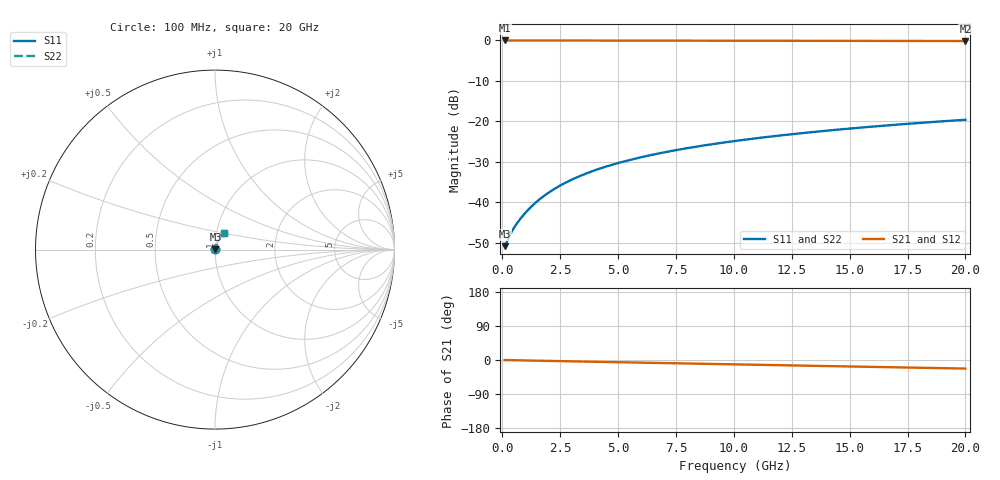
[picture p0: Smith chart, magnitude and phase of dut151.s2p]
! Touchstone file exported from HFSS 2026.1.0
!  File:  C:/ffzhzh/LocalFiles/Ansys_Project_Files/temp_train_TMRDL_151_1782983139_6248.aedt
!  Generated:  05:06:45 PM Jul  2, 2026
!  Design:  TMRDL
!  Project:  temp_train_TMRDL_151_1782983139_6248
! Variables:
!  h_bsmrdl = 2um
!  h_ox = 20um
!  h_rdl = 5um
!  h_sub = 80um
!  h_tmrdl = 4.48um
!  h_tsv = 80um
!  h_via = 3um
!  l_bsmrdl = 300um
!  l_sub = 793.68um
!  l_tmrdl = 393.68um
!  m_sub = 200um
!  pitch = 18.54um
!  r_tsv = 6um
!  s_tmrdl = 10um
!  w_bsmrdl = 18um
!  w_sub = 500um
!  w_tmrdl = 11.7um
!  x_tsv_center1 = 399.53um
!  x_tsv_center2 = 717.53um
!  x_tsv_center3 = 1122.91um
!  x_tsv_center4 = 1440.91um
!  x_tsv_center5 = 1846.29um
!  x_tsv_center6 = 2164.29um
# GHz S MA R 50.000000
! Terminal data exported
! Port[1] = TM_RDL1_1_T1
! Port[2] = TM_RDL1_1_T2
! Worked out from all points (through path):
!   200 points, 100 MHz to 20 GHz, reference 50 ohm
!   highest |S21| = -0.02 dB at 100 MHz (marker M1); lowest = -0.2 dB at 20 GHz (marker M2)
!   group delay of S21, straight-line fit = 3.13 ps
!   lowest |S11| = -50.8 dB at 100 MHz (marker M3), VSWR 1.01, Z = 50.3 + j0.0827 ohm
!   |S11| at or under -10 dB: start of sweep to end of sweep
!   |S22| runs from -50.8 to -19.6 dB; largest |S21 - S12| = 4e-15
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0.1  0.002889 16.5  0.9972 -0.1  0.9972 -0.1  0.002889 16.5
! Gamma 0 0 0 0
! Port Impedance 50 0 50 0
0.3  0.003804 36.8  0.997 -0.4  0.997 -0.4  0.003803 36.8
0.4  0.004319 42.5  0.9968 -0.5  0.9968 -0.5  0.004319 42.5
0.6  0.005347 50.4  0.9966 -0.7  0.9966 -0.7  0.005346 50.4
0.8  0.006394 56.1  0.9965 -1.0  0.9965 -1.0  0.006393 56.1
1  0.007475 60.2  0.9964 -1.2  0.9964 -1.2  0.007475 60.2
1.2  0.008589 63.3  0.9963 -1.4  0.9963 -1.4  0.008588 63.3
1.4  0.009727 65.7  0.9962 -1.7  0.9962 -1.7  0.009727 65.7
1.8  0.01205 68.9  0.996 -2.1  0.996 -2.1  0.01205 68.9
2.3  0.015 71.2  0.9957 -2.7  0.9957 -2.7  0.015 71.2
2.9  0.01854 72.6  0.9954 -3.4  0.9954 -3.4  0.01854 72.6
3.5  0.02206 73.2  0.9949 -4.1  0.9949 -4.1  0.02206 73.2
4.2  0.0261 73.4  0.9944 -4.9  0.9944 -4.9  0.0261 73.4
5  0.03064 73.2  0.9937 -5.9  0.9937 -5.9  0.03063 73.2
5.9  0.03563 72.7  0.9929 -6.9  0.9929 -6.9  0.03562 72.7
6.8  0.0405 72.1  0.9922 -7.9  0.9922 -7.9  0.0405 72.1
8.3  0.04842 70.9  0.9909 -9.6  0.9909 -9.6  0.04841 70.9
10.1  0.05763 69.4  0.9893 -11.6  0.9893 -11.6  0.05762 69.4
11.7  0.06561 68.0  0.988 -13.4  0.988 -13.4  0.06561 68.0
13.4  0.07393 66.4  0.9867 -15.3  0.9867 -15.3  0.07392 66.5
16.7  0.08964 63.4  0.9841 -19.0  0.9841 -19.0  0.08963 63.5
20  0.1048 60.3  0.9816 -22.6  0.9816 -22.6  0.1048 60.4
